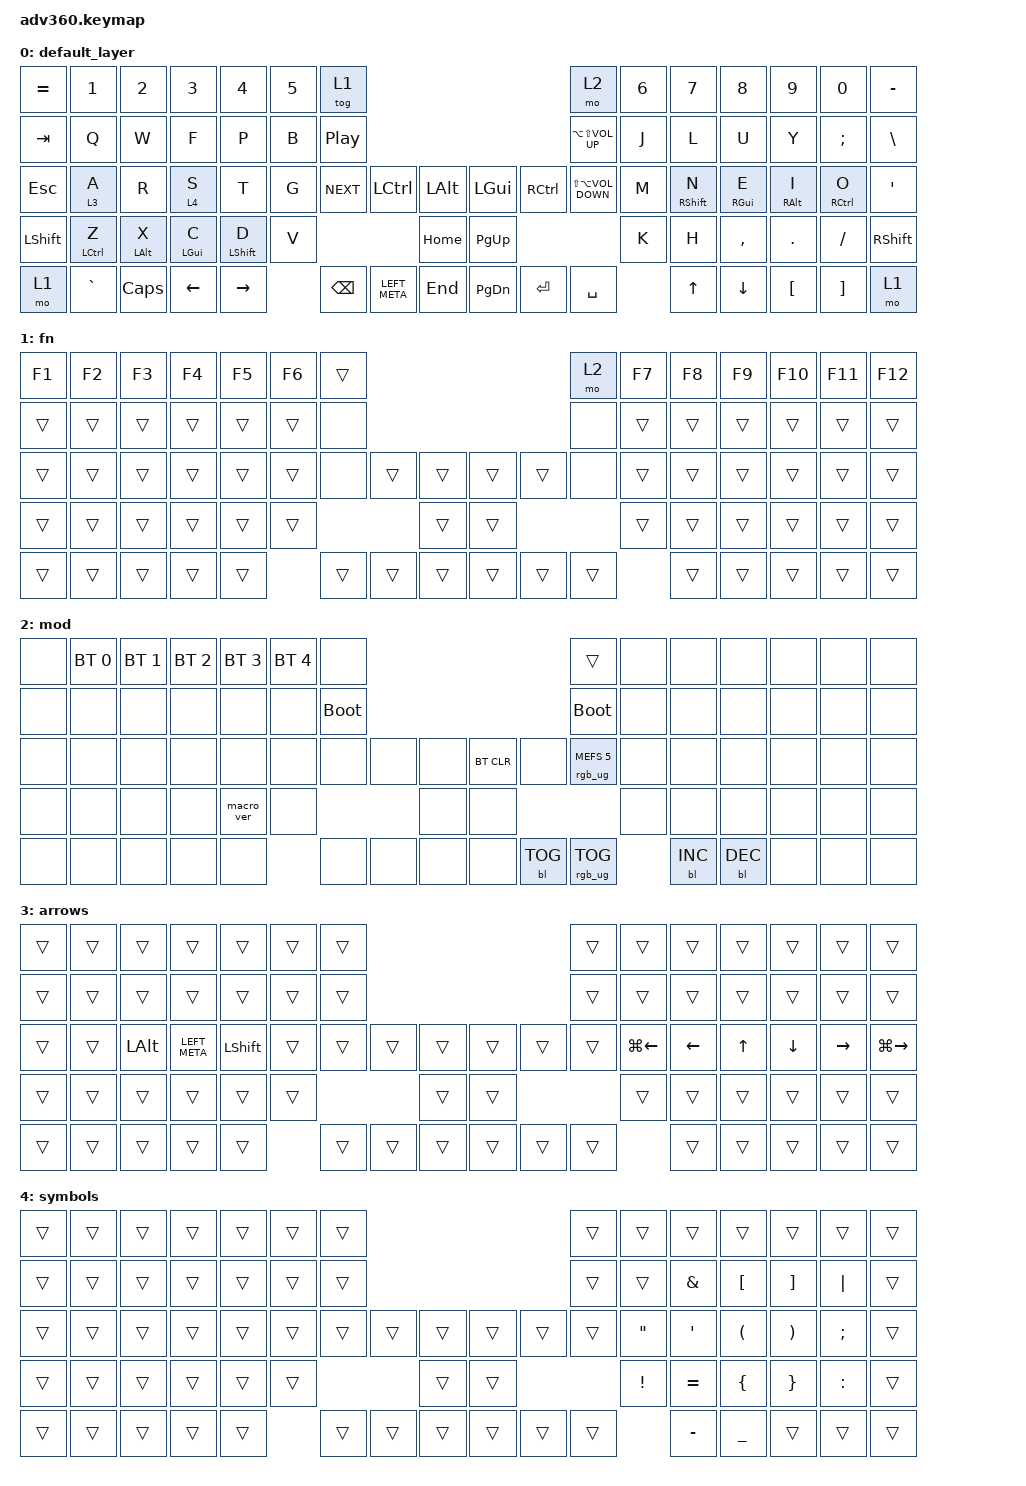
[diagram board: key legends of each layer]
#include <behaviors.dtsi>
#include <dt-bindings/zmk/backlight.h>
#include <dt-bindings/zmk/bt.h>
#include <dt-bindings/zmk/keys.h>
#include <dt-bindings/zmk/rgb.h>

/ {
    behaviors {
        #include "macros.dtsi"
      #include "version.dtsi"
      #ifndef VERSION_MACRO

        macro_ver: macro_ver {
            compatible = "zmk,behavior-macro";
            label = "macro_version";
            #binding-cells = <0>;
            bindings = <&kp RET>;
        };

        #endif

        hm: homerow_mods {
            compatible = "zmk,behavior-hold-tap";
            label = "HOMEROW_MODS";
            #binding-cells = <2>;
            tapping-term-ms = <200>;
            quick_tap_ms = <175>;
            flavor = "tap-preferred";
            bindings = <&kp>, <&kp>;
        };

        hml: homerow_mod_left {
            compatible = "zmk,behavior-hold-tap";
            label = "HOMEROW_MOD_LEFT";
            bindings = <&kp>, <&kp>;

            #binding-cells = <2>;
            flavor = "balanced";
            tapping-term-ms = <280>;
            quick-tap-ms = <175>;
            require-prior-idle-ms = <150>;
            hold-trigger-key-positions = <7 8 9 10 11 12 13 21 22 23 24 25 26 27 38 39 40 41 42 43 44 45 54 55 56 57 58 59 69 70 71 72 73 74 75 37 38 53 68 69>;
            hold-trigger-on-release;
        };

        hmr: homerow_mod_right {
            compatible = "zmk,behavior-hold-tap";
            label = "HOMEROW_MOD_RIGHT";
            bindings = <&kp>, <&kp>;

            #binding-cells = <2>;
            flavor = "balanced";
            tapping-term-ms = <280>;
            quick-tap-ms = <175>;
            require-prior-idle-ms = <150>;
            hold-trigger-key-positions = <0 1 2 3 4 5 6 14 15 16 17 18 19 20 28 29 30 31 32 33 34 35 36 46 47 48 49 50 51 52 60 61 62 63 64 65 66 67>;
            hold-trigger-on-release;
        };
    };

    macros {
    };

    keymap {
        compatible = "zmk,keymap";

        default_layer {
            bindings = <
&kp EQUAL  &kp N1        &kp N2           &kp N3           &kp N4             &kp N5  &tog 1                                                         &mo 2                      &kp N6  &kp N7              &kp N8            &kp N9            &kp N0                &kp MINUS
&kp TAB    &kp Q         &kp W            &kp F            &kp P              &kp B   &kp C_PP                                                       &kp LA(LS(C_VOLUME_UP))    &kp J   &kp L               &kp U             &kp Y             &kp SEMICOLON         &kp BSLH
&kp ESC    &lt 3 A       &kp R            &lt 4 S          &kp T              &kp G   &kp C_NEXT  &kp LCTRL      &kp LALT      &kp LGUI   &kp RCTRL  &kp LS(LA(C_VOLUME_DOWN))  &kp M   &hmr RIGHT_SHIFT N  &hmr RIGHT_GUI E  &hmr RIGHT_ALT I  &hmr RIGHT_CONTROL O  &kp SQT
&kp LSHFT  &hml LCTRL Z  &hml LEFT_ALT X  &hml LEFT_GUI C  &hml LEFT_SHIFT D  &kp V                              &kp HOME      &kp PG_UP                                        &kp K   &kp H               &kp COMMA         &kp DOT           &kp FSLH              &kp RSHFT
&mo 1      &kp GRAVE     &kp CAPS         &kp LEFT         &kp RIGHT                  &kp BSPC    &kp LEFT_META  &kp END       &kp PG_DN  &kp ENTER  &kp SPACE                          &kp UP              &kp DOWN          &kp LBKT          &kp RBKT              &mo 1
            >;
        };

        fn {
            bindings = <
&kp F1  &kp F2  &kp F3  &kp F4  &kp F5  &kp F6  &trans                                      &mo 2   &kp F7  &kp F8  &kp F9  &kp F10  &kp F11  &kp F12
&trans  &trans  &trans  &trans  &trans  &trans  &none                                       &none   &trans  &trans  &trans  &trans   &trans   &trans
&trans  &trans  &trans  &trans  &trans  &trans  &none   &trans  &trans      &trans  &trans  &none   &trans  &trans  &trans  &trans   &trans   &trans
&trans  &trans  &trans  &trans  &trans  &trans                  &trans      &trans                  &trans  &trans  &trans  &trans   &trans   &trans
&trans  &trans  &trans  &trans  &trans          &trans  &trans  &trans      &trans  &trans  &trans          &trans  &trans  &trans   &trans   &trans
            >;
        };

        mod {
            bindings = <
&none  &bt BT_SEL 0  &bt BT_SEL 1  &bt BT_SEL 2  &bt BT_SEL 3  &bt BT_SEL 4  &none                                                  &trans                  &none  &none       &none       &none  &none  &none
&none  &none         &none         &none         &none         &none         &bootloader                                            &bootloader             &none  &none       &none       &none  &none  &none
&none  &none         &none         &none         &none         &none         &none        &none  &none      &bt BT_CLR  &none       &rgb_ug RGB_MEFS_CMD 5  &none  &none       &none       &none  &none  &none
&none  &none         &none         &none         &macro_ver    &none                             &none      &none                                           &none  &none       &none       &none  &none  &none
&none  &none         &none         &none         &none                       &none        &none  &none      &none       &bl BL_TOG  &rgb_ug RGB_TOG                &bl BL_INC  &bl BL_DEC  &none  &none  &none
            >;
        };

        arrows {
            bindings = <
&trans  &trans  &trans        &trans         &trans          &trans  &trans                                      &trans  &trans              &trans          &trans        &trans          &trans           &trans
&trans  &trans  &trans        &trans         &trans          &trans  &trans                                      &trans  &trans              &trans          &trans        &trans          &trans           &trans
&trans  &trans  &kp LEFT_ALT  &kp LEFT_META  &kp LEFT_SHIFT  &trans  &trans  &trans  &trans      &trans  &trans  &trans  &kp LG(LEFT_ARROW)  &kp LEFT_ARROW  &kp UP_ARROW  &kp DOWN_ARROW  &kp RIGHT_ARROW  &kp LG(RIGHT_ARROW)
&trans  &trans  &trans        &trans         &trans          &trans                  &trans      &trans                  &trans              &trans          &trans        &trans          &trans           &trans
&trans  &trans  &trans        &trans         &trans                  &trans  &trans  &trans      &trans  &trans  &trans                      &trans          &trans        &trans          &trans           &trans
            >;
        };

        symbols {
            bindings = <
&trans  &trans  &trans  &trans  &trans  &trans  &trans                                      &trans  &trans             &trans            &trans                &trans                 &trans         &trans
&trans  &trans  &trans  &trans  &trans  &trans  &trans                                      &trans  &trans             &kp AMPERSAND     &kp LEFT_BRACKET      &kp RIGHT_BRACKET      &kp PIPE       &trans
&trans  &trans  &trans  &trans  &trans  &trans  &trans  &trans  &trans      &trans  &trans  &trans  &kp DOUBLE_QUOTES  &kp SINGLE_QUOTE  &kp LEFT_PARENTHESIS  &kp RIGHT_PARENTHESIS  &kp SEMICOLON  &trans
&trans  &trans  &trans  &trans  &trans  &trans                  &trans      &trans                  &kp EXCL           &kp EQUAL         &kp LEFT_BRACE        &kp RIGHT_BRACE        &kp COLON      &trans
&trans  &trans  &trans  &trans  &trans          &trans  &trans  &trans      &trans  &trans  &trans                     &kp MINUS         &kp UNDERSCORE        &trans                 &trans         &trans
            >;
        };
    };
};
